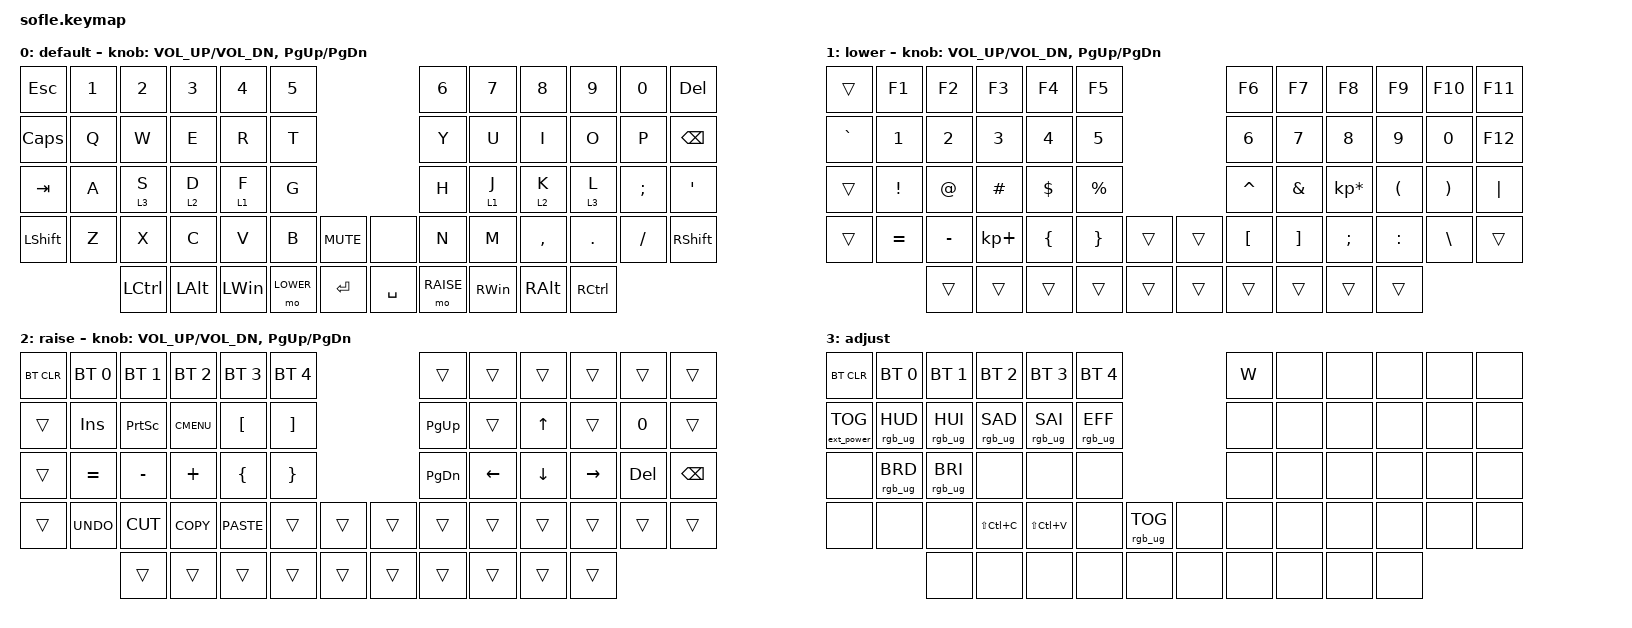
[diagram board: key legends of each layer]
/*
 * Copyright (c) 2020 The ZMK Contributors
 *
 * SPDX-License-Identifier: MIT
 */

#include <behaviors.dtsi>
#include <dt-bindings/zmk/bt.h>
#include <dt-bindings/zmk/ext_power.h>
#include <dt-bindings/zmk/keys.h>
#include <dt-bindings/zmk/rgb.h>

#define BASE 0
#define LOWER 1
#define RAISE 2
#define ADJUST 3

/ {
    // Activate ADJUST layer by pressing raise and lower

    conditional_layers {
        compatible = "zmk,conditional-layers";

        adjust_layer {
            if-layers = <LOWER RAISE>;
            then-layer = <ADJUST>;
        };
    };

    behaviors {
        active_layer: active_layer {
            compatible = "zmk,behavior-hold-tap";
            label = "ACTIVE_LAYER";
            bindings = <&mo>, <&kp>;

            #binding-cells = <2>;
            tapping-term-ms = <200>;
            flavor = "tap-preferred";
            quick-tap-ms = <100>;
        };
    };

    combos {
        compatible = "zmk,combos";

        cmdcopy {
            bindings = <&kp LC(LS(C))>;
            key-positions = <38 39>;
        };

        cmdpaste {
            bindings = <&kp LC(LS(V))>;
            key-positions = <39 40>;
        };
    };

    keymap {
        compatible = "zmk,keymap";

        default_layer {
            label = "default";

            // ------------------------------------------------------------------------------------------------------------
            // |   `   |  1  |  2  |  3   |  4   |  5   |                   |  6   |  7    |  8    |  9   |   0   |       |
            // |  ESC  |  Q  |  W  |  E   |  R   |  T   |                   |  Y   |  U    |  I    |  O   |   P   | BKSPC |
            // |  TAB  |  A  |  S  |  D   |  F   |  G   |                   |  H   |  J    |  K    |  L   |   ;   |   '   |
            // | SHIFT |  Z  |  X  |  C   |  V   |  B   |  MUTE  |  |       |  N   |  M    |  ,    |  .   |   /   | SHIFT |
            //               | GUI | ALT  | CTRL | LOWER|  ENTER |  | SPACE | RAISE| CTRL  | ALT   | GUI  |

            bindings = <
&kp ESC       &kp N1  &kp N2             &kp N3             &kp N4             &kp N5                              &kp N6     &kp N7             &kp N8             &kp N9             &kp N0    &kp DELETE
&kp CAPSLOCK  &kp Q   &kp W              &kp E              &kp R              &kp T                               &kp Y      &kp U              &kp I              &kp O              &kp P     &kp BSPC
&kp TAB       &kp A   &active_layer 3 S  &active_layer 2 D  &active_layer 1 F  &kp G                               &kp H      &active_layer 1 J  &active_layer 2 K  &active_layer 3 L  &kp SEMI  &kp SQT
&kp LSHFT     &kp Z   &kp X              &kp C              &kp V              &kp B      &kp C_MUTE    &none      &kp N      &kp M              &kp COMMA          &kp DOT            &kp FSLH  &kp RSHFT
                      &kp LCTRL          &kp LALT           &kp LWIN           &mo LOWER  &kp RET       &kp SPACE  &mo RAISE  &kp RWIN           &kp RALT           &kp RCTRL
            >;

            sensor-bindings = <&inc_dec_kp C_VOL_UP C_VOL_DN &inc_dec_kp PG_UP PG_DN>;
        };

        lower_layer {
            label = "lower";

            // TODO: Some binds are waiting for shifted keycode support.
            // ------------------------------------------------------------------------------------------------------------
            // |       |  F1 |  F2 |  F3  |  F4  |  F5  |                   |  F6  |  F7   |  F8   |  F9  |  F10  |  F11  |
            // |   `   |  1  |  2  |  3   |  4   |  5   |                   |  6   |  7    |  8    |  9   |   0   |  F12  |
            // |       |  !  |  @  |  #   |  $   |  %   |                   |  ^   |  &    |  *    |  (   |   )   |   |   |
            // |       |  =  |  -  |  +   |  {   |  }   |        |  |       |  [   |  ]    |  ;    |  :   |   \   |       |
            //               |     |      |      |      |        |  |       |      |       |       |      |

            bindings = <
&trans     &kp F1     &kp F2     &kp F3       &kp F4    &kp F5                       &kp F6     &kp F7    &kp F8           &kp F9     &kp F10   &kp F11
&kp GRAVE  &kp N1     &kp N2     &kp N3       &kp N4    &kp N5                       &kp N6     &kp N7    &kp N8           &kp N9     &kp N0    &kp F12
&trans     &kp EXCL   &kp AT     &kp HASH     &kp DLLR  &kp PRCNT                    &kp CARET  &kp AMPS  &kp KP_MULTIPLY  &kp LPAR   &kp RPAR  &kp PIPE
&trans     &kp EQUAL  &kp MINUS  &kp KP_PLUS  &kp LBRC  &kp RBRC   &trans    &trans  &kp LBKT   &kp RBKT  &kp SEMI         &kp COLON  &kp BSLH  &trans
                      &trans     &trans       &trans    &trans     &trans    &trans  &trans     &trans    &trans           &trans
            >;

            sensor-bindings = <&inc_dec_kp C_VOL_UP C_VOL_DN &inc_dec_kp PG_UP PG_DN>;
        };

        raise_layer {
            label = "raise";

            // ------------------------------------------------------------------------------------------------------------
            // | BTCLR | BT1  | BT2  |  BT3  |  BT4  |  BT5 |                |      |      |       |      |       |       |
            // |       | INS  | PSCR | GUI   |       |      |                | PGUP |      |   ^   |      |       |       |
            // |       | ALT  | CTRL | SHIFT |       | CAPS |                | PGDN |   <- |   v   |  ->  |  DEL  | BKSPC |
            // |       | UNDO | CUT  | COPY  | PASTE |      |      |  |      |      |      |       |      |       |       |
            //                |      |       |       |      |      |  |      |      |      |       |      |

            bindings = <
&bt BT_CLR  &bt BT_SEL 0  &bt BT_SEL 1  &bt BT_SEL 2  &bt BT_SEL 3      &bt BT_SEL 4                         &trans     &trans    &trans    &trans     &trans   &trans
&trans      &kp INS       &kp PSCRN     &kp K_CMENU   &kp LEFT_BRACKET  &kp RIGHT_BRACKET                    &kp PG_UP  &trans    &kp UP    &trans     &kp N0   &trans
&trans      &kp EQUAL     &kp MINUS     &kp PLUS      &kp LEFT_BRACE    &kp RIGHT_BRACE                      &kp PG_DN  &kp LEFT  &kp DOWN  &kp RIGHT  &kp DEL  &kp BSPC
&trans      &kp K_UNDO    &kp K_CUT     &kp K_COPY    &kp K_PASTE       &trans             &trans    &trans  &trans     &trans    &trans    &trans     &trans   &trans
                          &trans        &trans        &trans            &trans             &trans    &trans  &trans     &trans    &trans    &trans
            >;

            sensor-bindings = <&inc_dec_kp C_VOL_UP C_VOL_DN &inc_dec_kp PG_UP PG_DN>;
        };

        adjust_layer {
            // ----------------------------------------------------------------------------------------------------------------------------
            // | BTCLR  |  BT1    |  BT2    |   BT3   |   BT4   |   BT5   |                  |      |      |       |      |       |       |
            // | EXTPWR | RGB_HUD | RGB_HUI | RGB_SAD | RGB_SAI | RGB_EFF |                  |      |      |       |      |       |       |
            // |        | RGB_BRD | RGB_BRI |         |         |         |                  |      |      |       |      |       |       |
            // |        |         |         |         |         |         | RGB_TOG | |      |      |      |       |      |       |       |
            //                    |         |         |         |         |         | |      |      |      |       |      |

            label = "adjust";
            bindings = <
&bt BT_CLR         &bt BT_SEL 0     &bt BT_SEL 1     &bt BT_SEL 2     &bt BT_SEL 3     &bt BT_SEL 4                               &kp W  &none  &none  &none  &none  &none
&ext_power EP_TOG  &rgb_ug RGB_HUD  &rgb_ug RGB_HUI  &rgb_ug RGB_SAD  &rgb_ug RGB_SAI  &rgb_ug RGB_EFF                            &none  &none  &none  &none  &none  &none
&none              &rgb_ug RGB_BRD  &rgb_ug RGB_BRI  &none            &none            &none                                      &none  &none  &none  &none  &none  &none
&none              &none            &none            &kp LS(LC(C))    &kp LS(LC(V))    &none            &rgb_ug RGB_TOG    &none  &none  &none  &none  &none  &none  &none
                                    &none            &none            &none            &none            &none              &none  &none  &none  &none  &none
            >;
        };
    };
};
